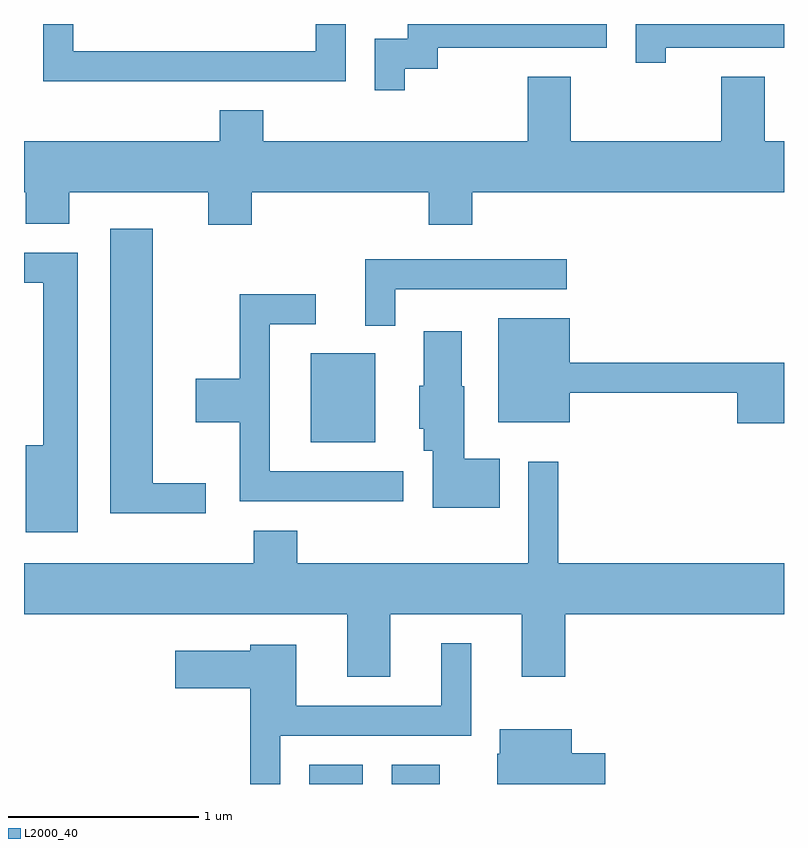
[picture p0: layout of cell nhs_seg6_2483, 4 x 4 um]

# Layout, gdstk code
import gdstk
lib = gdstk.Library(unit=1e-6, precision=1e-09)
def R(c, l, rs):  # rectangles x0, y0, x1, y1
    for r in rs: c.add(gdstk.rectangle(r[:2], r[2:], *l))
def P(c, l, *ps):  # polygons
    for p in ps: c.add(gdstk.Polygon(p, *l))
L2000_40 = (2000, 40)

nhs_seg6_2483 = lib.new_cell('nhs_seg6_2483')
R(nhs_seg6_2483, L2000_40, [(261.111,1640.162,261.394,1640.264), (261.546,1640.162,261.799,1640.264), (261.121,1641.961,261.459,1642.429)])
P(nhs_seg6_2483, L2000_40, [(262.989,1644.036),(263.611,1644.036),(263.611,1644.162),(262.831,1644.162),(262.831,1643.958),(262.989,1643.958)],
  [(261.614,1643.926),(261.789,1643.926),(261.789,1644.036),(262.679,1644.036),(262.679,1644.162),(261.631,1644.162),(261.631,1644.084),(261.456,1644.084),(261.456,1643.813),(261.614,1643.813)],
  [(261.304,1644.162),(261.146,1644.162),(261.146,1644.019),(259.869,1644.019),(259.869,1644.162),(259.711,1644.162),(259.711,1643.861),(261.304,1643.861)],
  [(260.809,1643.276),(261.741,1643.276),(261.741,1643.106),(261.969,1643.106),(261.969,1643.276),(263.611,1643.276),(263.611,1643.544),(263.509,1643.544),(263.509,1643.884),(263.281,1643.884),(263.281,1643.544),(262.489,1643.544),(262.489,1643.884),(262.261,1643.884),(262.261,1643.544),(260.869,1643.544),(260.869,1643.709),(260.641,1643.709),(260.641,1643.544),(259.611,1643.544),(259.611,1643.276),(259.621,1643.276),(259.621,1643.111),(259.849,1643.111),(259.849,1643.276),(260.581,1643.276),(260.581,1643.106),(260.809,1643.106)],
  [(260.568,1641.744),(260.289,1641.744),(260.289,1643.084),(260.066,1643.084),(260.066,1641.586),(260.568,1641.586)],
  [(259.894,1642.959),(259.611,1642.959),(259.611,1642.801),(259.711,1642.801),(259.711,1641.944),(259.621,1641.944),(259.621,1641.486),(259.894,1641.486)],
  [(261.564,1642.766),(262.468,1642.766),(262.468,1642.924),(261.406,1642.924),(261.406,1642.573),(261.564,1642.573)],
  [(261.608,1641.809),(260.904,1641.809),(260.904,1642.581),(261.147,1642.581),(261.147,1642.739),(260.746,1642.739),(260.746,1642.294),(260.516,1642.294),(260.516,1642.066),(260.746,1642.066),(260.746,1641.651),(261.608,1641.651)],
  [(263.611,1642.379),(262.484,1642.379),(262.484,1642.614),(262.106,1642.614),(262.106,1642.066),(262.484,1642.066),(262.484,1642.221),(263.366,1642.221),(263.366,1642.061),(263.611,1642.061)],
  [(262.114,1641.874),(261.929,1641.874),(261.929,1642.255),(261.914,1642.255),(261.914,1642.544),(261.716,1642.544),(261.716,1642.259),(261.691,1642.259),(261.691,1642.031),(261.716,1642.031),(261.716,1641.916),(261.761,1641.916),(261.761,1641.616),(262.114,1641.616)],
  [(261.539,1641.056),(262.231,1641.056),(262.231,1640.726),(262.459,1640.726),(262.459,1641.056),(263.611,1641.056),(263.611,1641.324),(262.424,1641.324),(262.424,1641.858),(262.266,1641.858),(262.266,1641.324),(261.049,1641.324),(261.049,1641.494),(260.821,1641.494),(260.821,1641.324),(259.611,1641.324),(259.611,1641.056),(261.311,1641.056),(261.311,1640.726),(261.539,1640.726)],
  [(260.959,1640.416),(261.964,1640.416),(261.964,1640.903),(261.806,1640.903),(261.806,1640.574),(261.044,1640.574),(261.044,1640.894),(260.801,1640.894),(260.801,1640.864),(260.406,1640.864),(260.406,1640.666),(260.801,1640.666),(260.801,1640.162),(260.959,1640.162)],
  [(262.669,1640.324),(262.494,1640.324),(262.494,1640.449),(262.116,1640.449),(262.116,1640.32),(262.101,1640.32),(262.101,1640.162),(262.669,1640.162)])

lib.write_gds('nhs_seg6_2483.gds')
